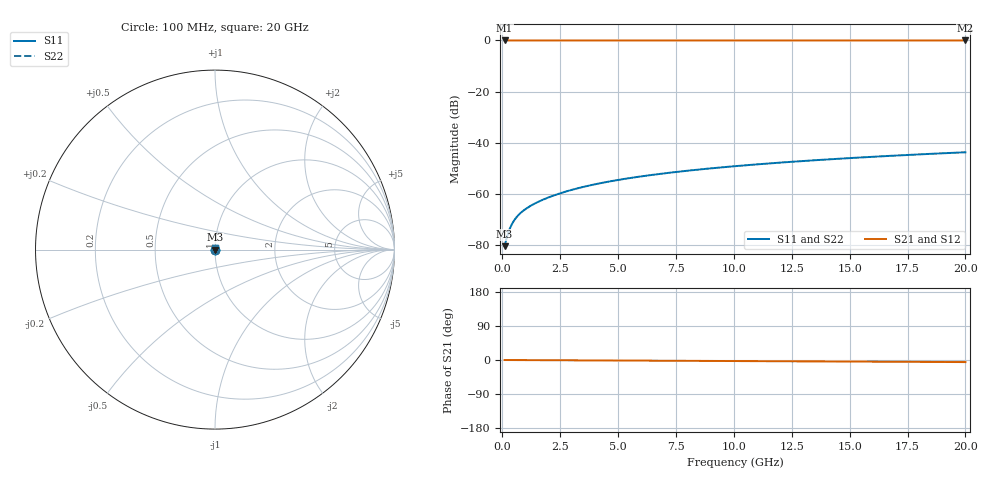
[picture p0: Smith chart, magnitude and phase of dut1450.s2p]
! Touchstone file exported from HFSS 2026.1.0
!  File:  C:/ffzhzh/LocalFiles/Ansys_Project_Files/temp_train_TSV_1450_1783197852_22436.aedt
!  Generated:  04:45:33 AM Jul  5, 2026
!  Design:  TSV
!  Project:  temp_train_TSV_1450_1783197852_22436
! Variables:
!  h_bsmrdl = 2um
!  h_ox = 20um
!  h_rdl = 5um
!  h_sub = 50.01um
!  h_tmrdl = 5um
!  h_tsv = 50.01um
!  h_via = 3um
!  l_bsmrdl = 300um
!  l_sub = 423.3um
!  l_tmrdl = 200um
!  m_sub = 200um
!  pitch = 49.36um
!  r_tsv = 11.65um
!  s_tmrdl = 10um
!  w_bsmrdl = 18um
!  w_sub = 500um
!  w_tmrdl = 12um
!  x_tsv_center1 = 206um
!  x_tsv_center2 = 524um
!  x_tsv_center3 = 736um
!  x_tsv_center4 = 1054um
!  x_tsv_center5 = 1266um
!  x_tsv_center6 = 1584um
# GHz S MA R 50.000000
! Terminal data exported
! Port[1] = TSV1_1_T1
! Port[2] = TSV1_1_T2
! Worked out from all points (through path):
!   200 points, 100 MHz to 20 GHz, reference 50 ohm
!   highest |S21| = 0.00 dB at 100 MHz (marker M1); lowest = 0.0 dB at 20 GHz (marker M2)
!   lowest |S11| = -80.5 dB at 100 MHz (marker M3), VSWR 1.00, Z = 50 + j0.00602 ohm
!   |S11| at or under -10 dB: start of sweep to end of sweep
!   |S22| runs from -80.5 to -43.7 dB; largest |S21 - S12| = 2.1e-15
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0.1  9.493e-05 39.4  0.9999 -0.0  0.9999 -0.0  9.493e-05 39.4
! Gamma 0 0 0 0
! Port Impedance 50 0 50 0
0.2  0.0001438 55.4  0.9999 -0.1  0.9999 -0.1  0.0001438 55.4
0.3  0.000197 61.5  0.9999 -0.1  0.9999 -0.1  0.000197 61.5
0.4  0.0002488 64.1  0.9999 -0.1  0.9999 -0.1  0.0002488 64.1
0.5  0.0002977 65.4  0.9999 -0.1  0.9999 -0.1  0.0002977 65.4
0.6  0.0003434 66.0  0.9999 -0.2  0.9999 -0.2  0.0003434 66.0
0.7  0.0003864 66.5  0.9998 -0.2  0.9998 -0.2  0.0003864 66.5
0.8  0.0004271 66.9  0.9998 -0.2  0.9998 -0.2  0.0004271 66.9
1  0.0005035 67.7  0.9998 -0.3  0.9998 -0.3  0.0005035 67.7
1.4  0.0006463 69.5  0.9998 -0.4  0.9998 -0.4  0.0006463 69.5
2  0.0008541 71.9  0.9997 -0.6  0.9997 -0.6  0.0008541 71.9
2.7  0.001095 73.8  0.9997 -0.8  0.9997 -0.8  0.001095 73.8
3.5  0.001369 75.2  0.9997 -1.0  0.9997 -1.0  0.001369 75.2
4.2  0.001606 75.9  0.9996 -1.2  0.9996 -1.2  0.001606 75.9
5  0.001872 76.5  0.9996 -1.4  0.9996 -1.4  0.001872 76.5
5.9  0.002166 77.0  0.9996 -1.6  0.9996 -1.6  0.002166 77.0
6.8  0.002456 77.3  0.9995 -1.9  0.9995 -1.9  0.002456 77.3
8.3  0.002933 77.7  0.9995 -2.3  0.9995 -2.3  0.002933 77.7
10.1  0.003497 78.0  0.9994 -2.8  0.9994 -2.8  0.003497 77.9
13.4  0.004518 78.1  0.9993 -3.7  0.9993 -3.7  0.004518 78.1
16.7  0.005524 77.9  0.9993 -4.6  0.9993 -4.6  0.005524 77.9
20  0.006513 77.5  0.9992 -5.5  0.9992 -5.5  0.006513 77.5
